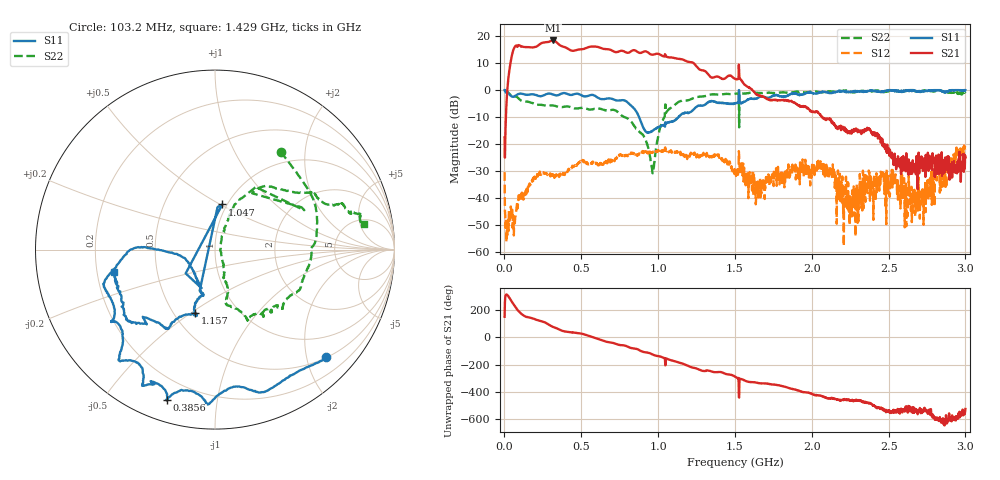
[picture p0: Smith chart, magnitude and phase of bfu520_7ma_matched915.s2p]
! created by kelvin at Wed Sep 11 09:06:22 EDT 2019
! generated using vna/J Version 3.3.2
# Hz S DB R 50.0
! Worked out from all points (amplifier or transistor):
!   1498 points, 1 MHz to 3 GHz, reference 50 ohm
!   highest |S21| = 18.3 dB at 315.5 MHz (marker M1)
!   |S21| within 3 dB of that: 61.4 MHz to 411.6 MHz (350.2 MHz wide, 148 % of centre)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
!   unconditionally stable (mu >= 1): 791.6 MHz to 1.144 GHz; 1.53 GHz to 2.011 GHz; 2.013 GHz to 2.184 GHz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
!   at 499.8 MHz: K = 0.99, MSG = 20.7 dB, |S12| = -26.4 dB
!   at 1.502 GHz: K = 1.54, MAG = 12.9 dB, |S12| = -30.2 dB
!   at 3 GHz: K = 0.95, MSG = -1.4 dB, |S12| = -22.0 dB
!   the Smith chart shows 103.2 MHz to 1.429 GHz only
!   S11 on the Smith chart (normalised r, x): 103.2 MHz: 0.51, -2.38; 385.6 MHz: 0.10, -0.72; 1.047 GHz: 0.95, +0.51; 1.157 GHz: 0.64, -0.52; 1.429 GHz: 0.27, -0.10
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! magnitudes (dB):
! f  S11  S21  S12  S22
! 1 MHz  0.0  -17.4  -30.3  0.0
! 17.03 MHz  -0.9  -1.2  -52.0  -0.7
! 43.07 MHz  -2.2  11.3  -44.1  -2.0
! 103.2 MHz  -1.3  16.4  -39.1  -3.7
! 315.5 MHz  -1.6  18.3  -31.5  -5.7
! 385.6 MHz  -1.1  16.0  -31.2  -6.2
! 501.8 MHz  -1.9  15.1  -26.2  -6.6
! 808.3 MHz  -4.9  13.8  -23.8  -10.7
! 962.6 MHz  -15.0  13.1  -22.9  -30.3
! 1.001 GHz  -13.8  13.4  -22.2  -16.9
! 1.047 GHz  -11.9  12.8  -21.2  -5.3
! 1.157 GHz  -8.7  11.4  -23.6  -3.9
! 1.429 GHz  -4.8  4.1  -26.5  -1.5
! 1.502 GHz  -4.8  4.2  -30.2  -1.4
! 1.646 GHz  -3.0  -1.8  -35.2  -1.0
! 2 GHz  -1.1  -7.8  -29.2  -0.5
! 2.129 GHz  -1.1  -11.6  -30.6  -0.5
! 2.253 GHz  -0.8  -15.9  -45.7  -0.7
! 2.363 GHz  -0.3  -14.3  -38.0  -0.5
! 2.501 GHz  0.0  -22.6  -34.4  -0.3
! 2.714 GHz  -0.4  -24.5  -39.3  -0.5
! 3 GHz  0.0  -24.9  -22.0  -1.2
